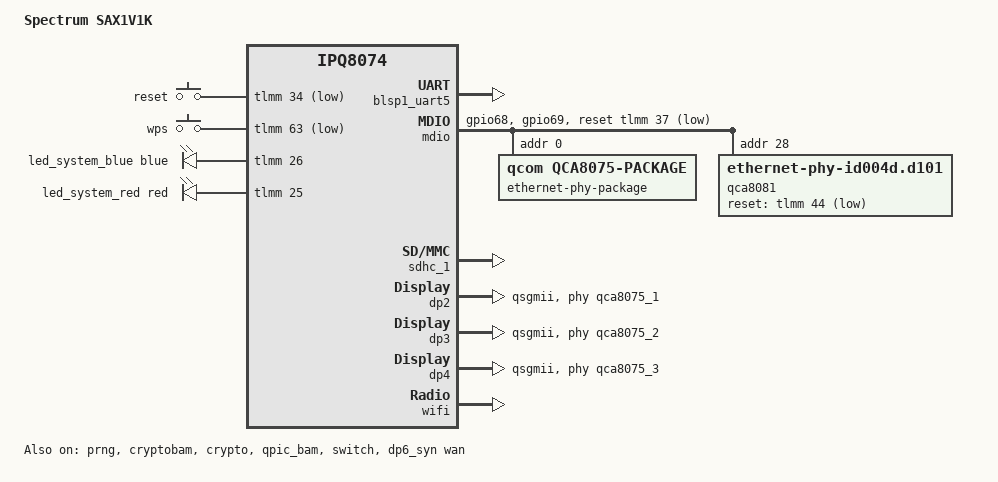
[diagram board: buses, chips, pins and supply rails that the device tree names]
// SPDX-License-Identifier: GPL-2.0-or-later OR MIT

/dts-v1/;

#include "ipq8074.dtsi"
#include "ipq8074-hk-cpu.dtsi"
#include "ipq8074-ess.dtsi"
#include <dt-bindings/gpio/gpio.h>
#include <dt-bindings/input/input.h>
#include <dt-bindings/leds/common.h>

/ {
	model = "Spectrum SAX1V1K";
	compatible = "spectrum,sax1v1k", "qcom,ipq8074";

	aliases {
		led-boot = &led_system_red;
		led-failsafe = &led_system_red;
		led-running = &led_system_blue;
		led-upgrade = &led_system_red;
		serial0 = &blsp1_uart5;
		/* Aliases as required by u-boot to patch MAC addresses */
		ethernet0 = &dp6_syn;
		ethernet1 = &dp4;
		ethernet2 = &dp3;
		ethernet3 = &dp2;
		label-mac-device = &dp6_syn;
	};

	chosen {
		stdout-path = "serial0:115200n8";
	};

	keys {
		compatible = "gpio-keys";

		reset {
			label = "reset";
			gpios = <&tlmm 34 GPIO_ACTIVE_LOW>;
			linux,code = <KEY_RESTART>;
		};

		wps {
			label = "wps";
			gpios = <&tlmm 63 GPIO_ACTIVE_LOW>;
			linux,code = <KEY_WPS_BUTTON>;
		};
	};

	leds {
		compatible = "gpio-leds";

		led_system_blue: system-blue {
			gpios = <&tlmm 26 GPIO_ACTIVE_HIGH>;
			color = <LED_COLOR_ID_BLUE>;
			function = LED_FUNCTION_STATUS;
		};

		led_system_red: system-red {
			gpios = <&tlmm 25 GPIO_ACTIVE_HIGH>;
			color = <LED_COLOR_ID_RED>;
			function = LED_FUNCTION_STATUS;
		};
	};
};

&tlmm {
	mdio_pins: mdio-pins {
		mdc {
			pins = "gpio68";
			function = "mdc";
			drive-strength = <8>;
			bias-pull-up;
		};

		mdio {
			pins = "gpio69";
			function = "mdio";
			drive-strength = <8>;
			bias-pull-up;
		};
	};
};

&blsp1_uart5 {
	status = "okay";
};

&prng {
	status = "okay";
};

&cryptobam {
	status = "okay";
};

&crypto {
	status = "okay";
};

&qpic_bam {
	status = "okay";
};

&mdio {
	pinctrl-0 = <&mdio_pins>;
	pinctrl-names = "default";
	reset-gpios = <&tlmm 37 GPIO_ACTIVE_LOW>;
	status = "okay";

	ethernet-phy-package@0 {
		#address-cells = <1>;
		#size-cells = <0>;
		compatible = "qcom,qca8075-package";
		reg = <0>;

		qcom,package-mode = "qsgmii";

		qca8075_1: ethernet-phy@1 {
			compatible = "ethernet-phy-ieee802.3-c22";
			reg = <1>;
		};

		qca8075_2: ethernet-phy@2 {
			compatible = "ethernet-phy-ieee802.3-c22";
			reg = <2>;
		};

		qca8075_3: ethernet-phy@3 {
			compatible = "ethernet-phy-ieee802.3-c22";
			reg = <3>;
		};
	};

	qca8081: ethernet-phy@28 {
		compatible = "ethernet-phy-id004d.d101";
		reg = <28>;
		reset-gpios = <&tlmm 44 GPIO_ACTIVE_LOW>;
		reset-deassert-us = <10000>;
		
		leds {
			#address-cells = <1>;
			#size-cells = <0>;

			led@0 {
				reg = <0>;
				color = <LED_COLOR_ID_YELLOW>;
				function = LED_FUNCTION_WAN;
				default-state = "keep";
				active-low;
			};

			led@2 {
				reg = <2>;
				color = <LED_COLOR_ID_GREEN>;
				function = LED_FUNCTION_WAN;
				default-state = "keep";
				active-low;
			};
		};
	};
};

&sdhc_1 {
	/* Following same rule as QNAP 301W
	 * the emmc has a problem with the hs400 > hs200 speed switch.
	 * Therefore remove the mmc-hs400-1_8v property
	*/
	/delete-property/ mmc-hs400-1_8v;
	mmc-hs200-1_8v;
	mmc-ddr-1_8v;
	vqmmc-supply = <&l11>;
	status = "okay";
};

&switch {
	switch_lan_bmp = <(ESS_PORT2 | ESS_PORT3 | ESS_PORT4)>; /* lan port bitmap */
	switch_wan_bmp = <ESS_PORT6>; /* wan port bitmap */
	switch_mac_mode = <MAC_MODE_QSGMII>; /* mac mode for uniphy instance0*/
	switch_mac_mode2 = <MAC_MODE_SGMII_PLUS>; /* mac mode for uniphy instance2*/
	status = "okay";

	qcom,port_phyinfo {
		port@2 {
			port_id = <2>;
			phy_address = <1>;
		};

		port@3 {
			port_id = <3>;
			phy_address = <2>;
		};

		port@4 {
			port_id = <4>;
			phy_address = <3>;
		};

		port@6 {
			port_id = <6>;
			phy_address = <28>;
			port_mac_sel = "QGMAC_PORT";
		};
	};
};

&edma {
	status = "okay";
};

&dp2 {
	phy-mode = "qsgmii";
	phy-handle = <&qca8075_1>;
	label = "lan3";
	status = "okay";
};

&dp3 {
	phy-mode = "qsgmii";
	phy-handle = <&qca8075_2>;
	label = "lan2";
	status = "okay";
};

&dp4 {
	phy-mode = "qsgmii";
	phy-handle = <&qca8075_3>;
	label = "lan1";
	status = "okay";
};

&dp6_syn {
	phy-handle = <&qca8081>;
	label = "wan";
	status = "okay";
};

&wifi {
	qcom,ath11k-calibration-variant = "Spectrum-SAX1V1K";
	status = "okay";
};
